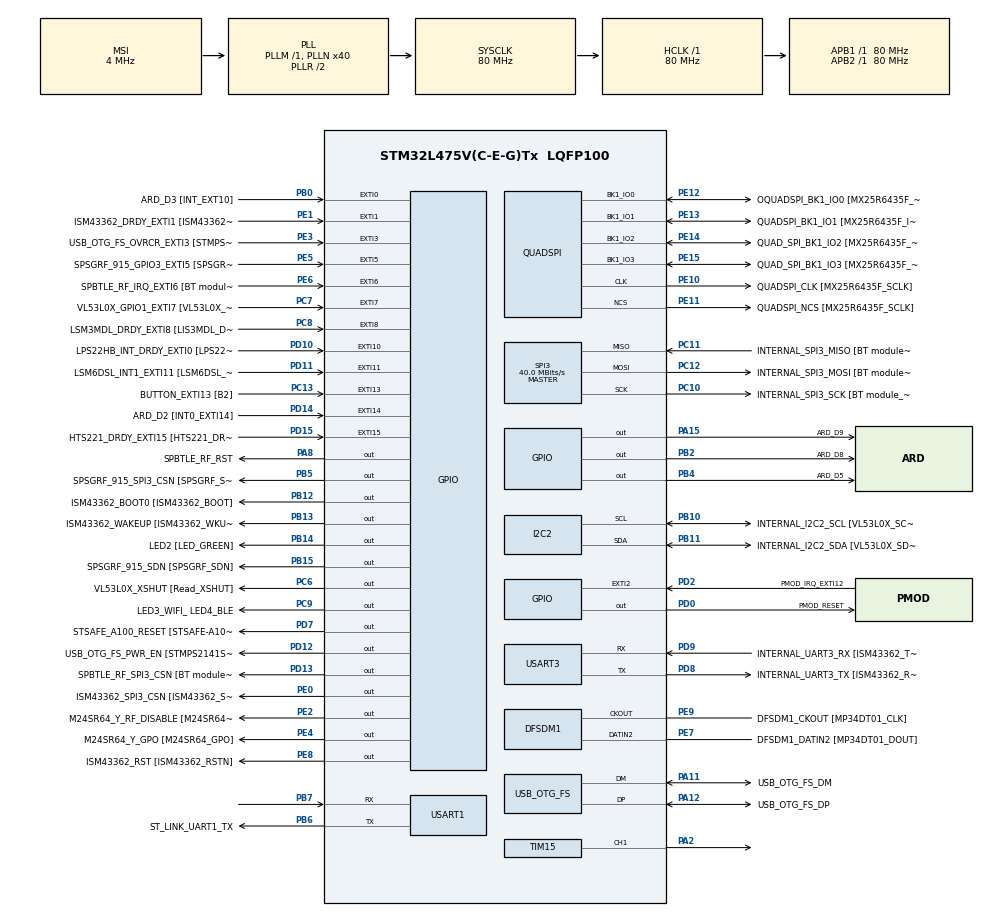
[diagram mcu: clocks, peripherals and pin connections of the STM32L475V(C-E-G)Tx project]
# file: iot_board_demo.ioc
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PD12.GPIO_Label=USB_OTG_FS_PWR_EN [STMPS2141STR_EN]
SPI3.Direction=SPI_DIRECTION_2LINES
SPI3.VirtualType=VM_MASTER
QUADSPI.ClockPrescaler=2
PB10.Mode=I2C
PC12.Signal=SPI3_MOSI
PB14.GPIO_Label=LED2 [LED_GREEN]
PC6.GPIO_Label=VL53L0X_XSHUT [Read_XSHUT]
PA6.GPIO_Label=ARD_D12 [SPI1_MISO]
PB6.GPIO_Label=ST_LINK_UART1_TX
PA15\ (JTDI).Signal=GPIO_Output
PC15-OSC32_OUT\ (PC15).Mode=LSE-External-Oscillator
PB13.Signal=GPIO_Output
STMicroelectronics.X-CUBE-BLE1.6.2.1.BlueNRGAaMSCcWirelessJjBlueNRGAaMSJjHCIIiTL=Template
PD6.GPIO_Label=PMOD_UART2_RX
PE6.GPIO_Label=SPBTLE_RF_IRQ_EXTI6 [BT module_SPI_IRQ]
RCC.SYSCLKSource=RCC_SYSCLKSOURCE_PLLCLK
PC14-OSC32_IN\ (PC14).Mode=LSE-External-Oscillator
SH.ADCx_IN16.0=ADC1_IN16
USART3.VirtualMode-Asynchronous=VM_ASYNC
PA14\ (JTCK-SWCLK).Signal=SYS_JTCK-SWCLK
PD4.Signal=USART2_RTS
RCC.APB2TimFreq_Value=80000000
PB6.Signal=USART1_TX
PC7.Signal=GPXTI7
PB6.Mode=Asynchronous
PC3.Signal=ADCx_IN4
PD0.Signal=GPIO_Output
PD8.Signal=USART3_TX
PE5.Signal=GPXTI5
PE1.Signal=GPXTI1
QUADSPI.FlashSize=23
STMicroelectronics.X-CUBE-BLE1.6.2.1.BlueNRGAaMSCcWirelessJjBlueNRGAaMSJjHCIIiTLIiINTERFACE=Template
NVIC.EXTI15_10_IRQn=true\:0\:0\:false\:false\:true\:true\:true
PB2.Signal=GPIO_Output
PD1.GPIO_Label=PMOD_SPI2_SCK
TIM15.Period=20000-1
PB12.GPIO_Label=ISM43362_BOOT0 [ISM43362_BOOT]
PC4.GPIO_Label=ARD_A1 [ADC]
PE9.Signal=S_CKOUTDFSDM1
PB1.GPIO_Label=ARD_D6 [ADC1_IN6]
PE4.GPIO_Label=M24SR64_Y_GPO [M24SR64_GPO]
PE2.Signal=GPIO_Output
PA8.Signal=GPIO_Output
STMicroelectronics.X-CUBE-BLE2.3.2.1.BlueNRGAa2CcWirelessJjBlueNRGAa2JjController=true
PE13.Mode=Single Bank
PE10.Signal=QUADSPI_CLK
PA0.Signal=UART4_TX
Mcu.Package=LQFP100
PB9.Signal=I2C1_SDA
PB1.Signal=ADCx_IN16
SPI3.Mode=SPI_MODE_MASTER
SH.ADCx_IN14.0=ADC1_IN14
PD12.Signal=GPIO_Output
PA10.Signal=USB_OTG_FS_ID
PE12.GPIO_Label=OQUADSPI_BK1_IO0 [MX25R6435F_IO0]
PC11.Mode=Full_Duplex_Master
SH.ADCx_IN9.0=ADC1_IN9
RCC.APB1TimFreq_Value=80000000
PA13\ (JTMS-SWDIO).Signal=SYS_JTMS-SWDIO
PE10.GPIO_Label=QUADSPI_CLK [MX25R6435F_SCLK]
PA4.GPIO_Label=ARD_D7
PD15.Signal=GPXTI15
TIM15.Channel-PWM\ Generation1\ CH1=TIM_CHANNEL_1
PE12.Mode=Single Bank
PD9.GPIO_Label=INTERNAL_UART3_RX [ISM43362_TX]
PC13.Signal=GPXTI13
PD3.Signal=USART2_CTS
PC6.Signal=GPIO_Output
PE10.Mode=Single Bank
PC2.Signal=ADCx_IN3
PB11.GPIO_Label=INTERNAL_I2C2_SDA [VL53L0X_SDA]
PD7.Signal=GPIO_Output
PD1.Signal=SPI2_SCK
PA11.GPIO_Label=USB_OTG_FS_DM
PC0.Signal=ADCx_IN1
PD10.Signal=GPXTI10
PB8.GPIO_Label=ARD_D15 [I2C1_SCL]
PA8.GPIO_Label=SPBTLE_RF_RST
PB11.Mode=I2C
PE8.GPIO_Label=ISM43362_RST [ISM43362_RSTN]
PE9.GPIO_Label=DFSDM1_CKOUT [MP34DT01_CLK]
PD8.Mode=Asynchronous
VP_STMicroelectronics.X-CUBE-BLE1_VS_WirelessJjBlueNRGAaMS_6.2.1.Mode=WirelessJjBlueNRGAaMS
PB10.Signal=I2C2_SCL
PB14.Signal=GPIO_Output
PA5.Signal=SPI1_SCK
PC12.Mode=Full_Duplex_Master
PE1.GPIO_Label=ISM43362_DRDY_EXTI1 [ISM43362_DATARDY]
SH.S_TIM15_CH1.0=TIM15_CH1,PWM Generation1 CH1
PE14.Signal=QUADSPI_BK1_IO2
PE15.Signal=QUADSPI_BK1_IO3
PB15.GPIO_Label=SPSGRF_915_SDN [SPSGRF_SDN]
PE8.Signal=GPIO_Output
PA1.GPIO_Label=ARD_D0 [UART4_RX]
SH.ADCx_IN4.0=ADC1_IN4
QUADSPI.FifoThreshold=4
PC7.GPIO_Label=VL53L0X_GPIO1_EXTI7 [VL53L0X_GPIO1]
PA13\ (JTMS-SWDIO).Mode=Serial_Wire
PA4.Signal=ADCx_IN9
PB5.Signal=GPIO_Output
PE13.GPIO_Label=QUADSPI_BK1_IO1 [MX25R6435F_IO1]
PA5.GPIO_Label=ARD_D13 [SPI1_SCK]
PD11.Signal=GPXTI11
PE5.GPIO_Label=SPSGRF_915_GPIO3_EXTI5 [SPSGRF_GPIO_3]
PC12.GPIO_Label=INTERNAL_SPI3_MOSI [BT module_SPI_MOSI] [ISM43362_MOSI]
PA11.Signal=USB_OTG_FS_DM
ProjectManager.HeapSize=0x200
NVIC.PriorityGroup=NVIC_PRIORITYGROUP_4
PE3.Signal=GPXTI3
PC3.GPIO_Label=ARD_A2 [ADC]
PB4\ (NJTRST).GPIO_Label=ARD_D5
PD2.Signal=GPXTI2
PB0.Signal=GPXTI0
PC1.Signal=ADCx_IN2
PD2.GPIO_Label=PMOD_IRQ_EXTI12
PE15.Mode=Single Bank
STMicroelectronics.X-CUBE-BLE2.3.2.1.BlueNRGAa2CcWirelessJjBlueNRGAa2JjHCIIiTLIiINTERFACE=Template
Mcu.Family=STM32L4
TIM15.AutoReloadPreload=TIM_AUTORELOAD_PRELOAD_ENABLE
RCC.CortexFreq_Value=80000000
PE11.GPIO_Label=QUADSPI_NCS [MX25R6435F_SCLK]
SH.ADCx_IN2.0=ADC1_IN2
STMicroelectronics.X-CUBE-BLE1.6.2.1.BlueNRGAaMSCcWirelessJjBlueNRGAaMSJjController=true
PC10.Signal=SPI3_SCK
I2C2.Timing=0x10909CEC
PA0.GPIO_Label=ARD_D1 [UART4_TX]
PC0.GPIO_Label=ARD_A5 [ADC]
PD0.GPIO_Label=PMOD_RESET
PA11.Mode=Device_Only
PB0.GPIO_Label=ARD_D3 [INT_EXT10]
PC13.GPIO_Label=BUTTON_EXTI13 [B2]
PB13.GPIO_Label=ISM43362_WAKEUP [ISM43362_WKUP]
PB11.Signal=I2C2_SDA
PB15.Signal=GPIO_Output
PD9.Mode=Asynchronous
STMicroelectronics.X-CUBE-BLE2.3.2.1.BlueNRGAa2CcWirelessJjBlueNRGAa2JjUtils=true
ProjectManager.StackSize=0x400
PB3\ (JTDO-TRACESWO).Signal=SYS_JTDO-SWO
PD13.Signal=GPIO_Output
PA12.Signal=USB_OTG_FS_DP
PE11.Mode=Single Bank
TIM15.Prescaler=84
PD11.GPIO_Label=LSM6DSL_INT1_EXTI11 [LSM6DSL_INT1]
RCC.HCLKFreq_Value=80000000
SH.ADCx_IN3.0=ADC1_IN3
PB5.PinState=GPIO_PIN_SET
STMicroelectronics.X-CUBE-BLE2.3.2.1.BlueNRGAa2CcWirelessJjBlueNRGAa2JjHCIIiTL=Template
RCC.AHBFreq_Value=80000000
RCC.HSE_VALUE=8000000
PE13.Signal=QUADSPI_BK1_IO1
PC11.GPIO_Label=INTERNAL_SPI3_MISO [BT module_SPI_MISO] [ISM43362_MISO]
PA10.GPIO_Label=USB_OTG_FS_ID
PB7.Signal=USART1_RX
PE4.Signal=GPIO_Output
QUADSPI.SampleShifting=QSPI_SAMPLE_SHIFTING_HALFCYCLE
PD7.GPIO_Label=STSAFE_A100_RESET [STSAFE-A100_RESET]
PD13.GPIO_Label=SPBTLE_RF_SPI3_CSN [BT module_SPI_CS]
PA6.Signal=SPI1_MISO
PD5.GPIO_Label=PMOD_UART2_TX
USB_OTG_FS.VirtualMode=Device_Only
PE0.GPIO_Label=ISM43362_SPI3_CSN [ISM43362_SSN]
SH.ADCx_IN1.0=ADC1_IN1
PB5.GPIO_Label=SPSGRF_915_SPI3_CSN [SPSGRF_SPI_CS]
PC5.Signal=ADCx_IN14
PD3.GPIO_Label=PMOD_UART2_CTS
PE7.Signal=S_DATAIN2DFSDM1
PD6.Signal=USART2_RX
PE2.GPIO_Label=M24SR64_Y_RF_DISABLE [M24SR64_RFDIS]
PC2.GPIO_Label=ARD_A3 [ADC]
RCC.PLLSAI1N=24
PA3.Signal=S_TIM2_CH4
RCC.MSI_VALUE=4000000
PA14\ (JTCK-SWCLK).Mode=Serial_Wire
SH.ADCx_IN13.0=ADC1_IN13
PD15.GPIO_Label=HTS221_DRDY_EXTI15 [HTS221_DRDY]
PB9.GPIO_Label=ARD_D14 [I2C1_SDA]
PC10.GPIO_Label=INTERNAL_SPI3_SCK [BT module_SPI_SCLK] [ISM43362_SCK]
PC9.GPIO_Label=LED3_WIFI_ LED4_BLE
PC11.Signal=SPI3_MISO
PC8.Signal=GPXTI8
PC4.Signal=ADCx_IN13
PC10.Mode=Full_Duplex_Master
SH.S_DATAIN2DFSDM1.0=DFSDM1_DATIN2,PDM_SPI_Input_from_ch12_and_Internal_Clock
PE14.GPIO_Label=QUAD_SPI_BK1_IO2 [MX25R6435F_IO2]
PC15-OSC32_OUT\ (PC15).Signal=RCC_OSC32_OUT
PD9.Signal=USART3_RX
PD5.Signal=USART2_TX
PA14\ (JTCK-SWCLK).GPIO_Label=SYS_JTCK_SWCLK
PB3\ (JTDO-TRACESWO).GPIO_Label=SYS_JTD0_SWO
STMicroelectronics.X-CUBE-BLE1.6.2.1.BlueNRGAaMSCcWirelessJjBlueNRGAaMSJjUtils=true
PA12.GPIO_Label=USB_OTG_FS_DP
PD8.GPIO_Label=INTERNAL_UART3_TX [ISM43362_RX]
PC8.GPIO_Label=LSM3MDL_DRDY_EXTI8 [LIS3MDL_DRDY]
USART1.VirtualMode-Asynchronous=VM_ASYNC
PE0.PinState=GPIO_PIN_SET
PE15.GPIO_Label=QUAD_SPI_BK1_IO3 [MX25R6435F_IO3]
ProjectManager.TargetToolchain=STM32CubeIDE
PB10.GPIO_Label=INTERNAL_I2C2_SCL [VL53L0X_SCL]
RCC.USBFreq_Value=48000000
PD10.GPIO_Label=LPS22HB_INT_DRDY_EXTI0 [LPS22HB_INT_DRDY] 
PE11.Signal=QUADSPI_NCS
PA1.Signal=UART4_RX
board=B-L475E-IOT01A1
RCC.VCOOutputFreq_Value=160000000
RCC.APB2Freq_Value=80000000
SPI3.CalculateBaudRate=40.0 MBits/s
PA13\ (JTMS-SWDIO).GPIO_Label=SYS_JTMS_SWDIO
PD4.GPIO_Label=PMOD_UART2_RTS
PE14.Mode=Single Bank
SH.S_CKOUTDFSDM1.0=DFSDM1_CKOUT,CKOUT
SH.S_CKOUTDFSDM1.1=DFSDM1_CKOUT,PDM_SPI_Input_from_ch12_and_Internal_Clock
RCC.ADCFreq_Value=48000000
PC1.GPIO_Label=ARD_A4 [ADC]
PD14.GPIO_Label=ARD_D2 [INT0_EXTI14]
PE6.Signal=GPXTI6
PA15\ (JTDI).GPIO_Label=ARD_D9
Mcu.Name=STM32L475V(C-E-G)Tx
PE0.Signal=GPIO_Output
PE7.GPIO_Label=DFSDM1_DATIN2 [MP34DT01_DOUT]
PE12.Signal=QUADSPI_BK1_IO0
PA2.Signal=S_TIM15_CH1
PD14.Signal=GPXTI14
RCC.SYSCLKFreq_VALUE=80000000
PA7.GPIO_Label=ARD_D11 [SPI1_MOSI]
PA12.Mode=Device_Only
PC13.GPIO_ModeDefaultEXTI=GPIO_MODE_IT_FALLING
PC5.GPIO_Label=ARD_A0 [ADC]
PC14-OSC32_IN\ (PC14).Signal=RCC_OSC32_IN
PB7.Mode=Asynchronous
VP_TIM15_VS_ClockSourceINT.Mode=Internal
NVIC.EXTI9_5_IRQn=true\:0\:0\:false\:false\:true\:true\:true
PB2.GPIO_Label=ARD_D8
SH.S_TIM2_CH4.0=TIM2_CH4
RCC.HSI_VALUE=16000000
RCC.PLLN=40
PB8.Signal=I2C1_SCL
PE3.GPIO_Label=USB_OTG_FS_OVRCR_EXTI3 [STMPS2141STR_FAULT]
PC9.Signal=GPIO_Output
PD13.PinState=GPIO_PIN_SET
RCC.APB1Freq_Value=80000000
PB12.Signal=GPIO_Output
PA3.GPIO_Label=ARD_D4
PA7.Signal=SPI1_MOSI
PB4\ (NJTRST).Signal=GPIO_Output

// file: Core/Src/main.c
/* USER CODE BEGIN Header */
/**
  ******************************************************************************
  * @file           : main.c
  * @brief          : Main program body
  ******************************************************************************
  * @attention
  *
  * <h2><center>&copy; Copyright (c) 2021 STMicroelectronics.
  * All rights reserved.</center></h2>
  *
  * This software component is licensed by ST under BSD 3-Clause license,
  * the "License"; You may not use this file except in compliance with the
  * License. You may obtain a copy of the License at:
  *                        opensource.org/licenses/BSD-3-Clause
  *
  ******************************************************************************
  */
/* USER CODE END Header */
#include "main.h"

DFSDM_Channel_HandleTypeDef hdfsdm1_channel1;

I2C_HandleTypeDef hi2c2;

QSPI_HandleTypeDef hqspi;

SPI_HandleTypeDef hspi3;

TIM_HandleTypeDef htim15;

UART_HandleTypeDef huart1;
UART_HandleTypeDef huart3;

PCD_HandleTypeDef hpcd_USB_OTG_FS;

void SystemClock_Config(void);
static void MX_GPIO_Init(void);
static void MX_DFSDM1_Init(void);
static void MX_I2C2_Init(void);
static void MX_QUADSPI_Init(void);
static void MX_SPI3_Init(void);
static void MX_USART3_UART_Init(void);
static void MX_USB_OTG_FS_PCD_Init(void);
static void MX_USART1_UART_Init(void);
static void MX_TIM15_Init(void);

int main(void)
{

  /* MCU Configuration--------------------------------------------------------*/

  /* Reset of all peripherals, Initializes the Flash interface and the Systick. */
  HAL_Init();

  /* Configure the system clock */
  SystemClock_Config();

  /* Initialize all configured peripherals */
  MX_GPIO_Init();
  MX_DFSDM1_Init();
  MX_I2C2_Init();
  MX_QUADSPI_Init();
  MX_SPI3_Init();
  MX_USART3_UART_Init();
  MX_USB_OTG_FS_PCD_Init();
  MX_USART1_UART_Init();
  MX_TIM15_Init();
  /* USER CODE BEGIN 2 */

  HAL_TIM_PWM_Start(&htim15, TIM_CHANNEL_1);

  /* USER CODE END 2 */

  /* Infinite loop */
  /* USER CODE BEGIN WHILE */

  // minimum of 575 microseconds - 2460 microseconds duty cycle

  htim15.Instance->CCR1 = 575; // set motor angle to lowest

  HAL_Delay(2000); // set up time

  int direction = 0;
  int stop = 0;
  uint32_t lastPressed = 0;

  while (1)
  {

    /* USER CODE END WHILE */

    /* USER CODE BEGIN 3 */

	// TODO: stop PWM if button is not pressed for a while

	if (HAL_GetTick() - lastPressed > 2000) {
		stop = 1;
		HAL_TIM_PWM_Stop(&htim15, TIM_CHANNEL_1);
	}

	if (!HAL_GPIO_ReadPin(BUTTON_EXTI13_GPIO_Port, BUTTON_EXTI13_Pin) && stop) {
		stop = 0;
		HAL_TIM_PWM_Start(&htim15, TIM_CHANNEL_1);
	}

	// check for button pressed and rotate if so
	if (htim15.Instance->CCR1 < 2460 && !HAL_GPIO_ReadPin(BUTTON_EXTI13_GPIO_Port, BUTTON_EXTI13_Pin) && !direction && !stop) {
		htim15.Instance->CCR1++;

		lastPressed = HAL_GetTick(); // store last press time stamp

		HAL_Delay(1);
	}

	// check for button pressed and rotate if so
	else if (htim15.Instance->CCR1 > 575 && !HAL_GPIO_ReadPin(BUTTON_EXTI13_GPIO_Port, BUTTON_EXTI13_Pin) && direction && !stop) { // && !HAL_GPIO_ReadPin(BUTTON_EXTI13_GPIO_Port, BUTTON_EXTI13_Pin)) {
		htim15.Instance->CCR1--;

		lastPressed = HAL_GetTick(); // store last press time stamp

		HAL_Delay(1);
	}

	// reverse direction on max angle
	if (htim15.Instance->CCR1 == 2460) {
			direction = 1;
		}

	// reverse direction in minimum angle
	if (htim15.Instance->CCR1 == 575) {
		direction = 0;
	}

  }
  /* USER CODE END 3 */
}

void SystemClock_Config(void)
{
  RCC_OscInitTypeDef RCC_OscInitStruct = {0};
  RCC_ClkInitTypeDef RCC_ClkInitStruct = {0};
  RCC_PeriphCLKInitTypeDef PeriphClkInit = {0};

  /** Configure LSE Drive Capability
  */
  HAL_PWR_EnableBkUpAccess();
  __HAL_RCC_LSEDRIVE_CONFIG(RCC_LSEDRIVE_LOW);
  /** Initializes the RCC Oscillators according to the specified parameters
  * in the RCC_OscInitTypeDef structure.
  */
  RCC_OscInitStruct.OscillatorType = RCC_OSCILLATORTYPE_LSE|RCC_OSCILLATORTYPE_MSI;
  RCC_OscInitStruct.LSEState = RCC_LSE_ON;
  RCC_OscInitStruct.MSIState = RCC_MSI_ON;
  RCC_OscInitStruct.MSICalibrationValue = 0;
  RCC_OscInitStruct.MSIClockRange = RCC_MSIRANGE_6;
  RCC_OscInitStruct.PLL.PLLState = RCC_PLL_ON;
  RCC_OscInitStruct.PLL.PLLSource = RCC_PLLSOURCE_MSI;
  RCC_OscInitStruct.PLL.PLLM = 1;
  RCC_OscInitStruct.PLL.PLLN = 40;
  RCC_OscInitStruct.PLL.PLLP = RCC_PLLP_DIV7;
  RCC_OscInitStruct.PLL.PLLQ = RCC_PLLQ_DIV2;
  RCC_OscInitStruct.PLL.PLLR = RCC_PLLR_DIV2;
  if (HAL_RCC_OscConfig(&RCC_OscInitStruct) != HAL_OK)
  {
    Error_Handler();
  }
  /** Initializes the CPU, AHB and APB buses clocks
  */
  RCC_ClkInitStruct.ClockType = RCC_CLOCKTYPE_HCLK|RCC_CLOCKTYPE_SYSCLK
                              |RCC_CLOCKTYPE_PCLK1|RCC_CLOCKTYPE_PCLK2;
  RCC_ClkInitStruct.SYSCLKSource = RCC_SYSCLKSOURCE_PLLCLK;
  RCC_ClkInitStruct.AHBCLKDivider = RCC_SYSCLK_DIV1;
  RCC_ClkInitStruct.APB1CLKDivider = RCC_HCLK_DIV1;
  RCC_ClkInitStruct.APB2CLKDivider = RCC_HCLK_DIV1;

  if (HAL_RCC_ClockConfig(&RCC_ClkInitStruct, FLASH_LATENCY_4) != HAL_OK)
  {
    Error_Handler();
  }
  PeriphClkInit.PeriphClockSelection = RCC_PERIPHCLK_USART1|RCC_PERIPHCLK_USART3
                              |RCC_PERIPHCLK_I2C2|RCC_PERIPHCLK_DFSDM1
                              |RCC_PERIPHCLK_USB;
  PeriphClkInit.Usart1ClockSelection = RCC_USART1CLKSOURCE_PCLK2;
  PeriphClkInit.Usart3ClockSelection = RCC_USART3CLKSOURCE_PCLK1;
  PeriphClkInit.I2c2ClockSelection = RCC_I2C2CLKSOURCE_PCLK1;
  PeriphClkInit.Dfsdm1ClockSelection = RCC_DFSDM1CLKSOURCE_PCLK;
  PeriphClkInit.UsbClockSelection = RCC_USBCLKSOURCE_PLLSAI1;
  PeriphClkInit.PLLSAI1.PLLSAI1Source = RCC_PLLSOURCE_MSI;
  PeriphClkInit.PLLSAI1.PLLSAI1M = 1;
  PeriphClkInit.PLLSAI1.PLLSAI1N = 24;
  PeriphClkInit.PLLSAI1.PLLSAI1P = RCC_PLLP_DIV7;
  PeriphClkInit.PLLSAI1.PLLSAI1Q = RCC_PLLQ_DIV2;
  PeriphClkInit.PLLSAI1.PLLSAI1R = RCC_PLLR_DIV2;
  PeriphClkInit.PLLSAI1.PLLSAI1ClockOut = RCC_PLLSAI1_48M2CLK;
  if (HAL_RCCEx_PeriphCLKConfig(&PeriphClkInit) != HAL_OK)
  {
    Error_Handler();
  }
  /** Configure the main internal regulator output voltage
  */
  if (HAL_PWREx_ControlVoltageScaling(PWR_REGULATOR_VOLTAGE_SCALE1) != HAL_OK)
  {
    Error_Handler();
  }
  /** Enable MSI Auto calibration
  */
  HAL_RCCEx_EnableMSIPLLMode();
}

static void MX_DFSDM1_Init(void)
{

  hdfsdm1_channel1.Instance = DFSDM1_Channel1;
  hdfsdm1_channel1.Init.OutputClock.Activation = ENABLE;
  hdfsdm1_channel1.Init.OutputClock.Selection = DFSDM_CHANNEL_OUTPUT_CLOCK_SYSTEM;
  hdfsdm1_channel1.Init.OutputClock.Divider = 2;
  hdfsdm1_channel1.Init.Input.Multiplexer = DFSDM_CHANNEL_EXTERNAL_INPUTS;
  hdfsdm1_channel1.Init.Input.DataPacking = DFSDM_CHANNEL_STANDARD_MODE;
  hdfsdm1_channel1.Init.Input.Pins = DFSDM_CHANNEL_FOLLOWING_CHANNEL_PINS;
  hdfsdm1_channel1.Init.SerialInterface.Type = DFSDM_CHANNEL_SPI_RISING;
  hdfsdm1_channel1.Init.SerialInterface.SpiClock = DFSDM_CHANNEL_SPI_CLOCK_INTERNAL;
  hdfsdm1_channel1.Init.Awd.FilterOrder = DFSDM_CHANNEL_FASTSINC_ORDER;
  hdfsdm1_channel1.Init.Awd.Oversampling = 1;
  hdfsdm1_channel1.Init.Offset = 0;
  hdfsdm1_channel1.Init.RightBitShift = 0x00;
  if (HAL_DFSDM_ChannelInit(&hdfsdm1_channel1) != HAL_OK)
  {
    Error_Handler();
  }

}

static void MX_I2C2_Init(void)
{

  hi2c2.Instance = I2C2;
  hi2c2.Init.Timing = 0x10909CEC;
  hi2c2.Init.OwnAddress1 = 0;
  hi2c2.Init.AddressingMode = I2C_ADDRESSINGMODE_7BIT;
  hi2c2.Init.DualAddressMode = I2C_DUALADDRESS_DISABLE;
  hi2c2.Init.OwnAddress2 = 0;
  hi2c2.Init.OwnAddress2Masks = I2C_OA2_NOMASK;
  hi2c2.Init.GeneralCallMode = I2C_GENERALCALL_DISABLE;
  hi2c2.Init.NoStretchMode = I2C_NOSTRETCH_DISABLE;
  if (HAL_I2C_Init(&hi2c2) != HAL_OK)
  {
    Error_Handler();
  }
  /** Configure Analogue filter
  */
  if (HAL_I2CEx_ConfigAnalogFilter(&hi2c2, I2C_ANALOGFILTER_ENABLE) != HAL_OK)
  {
    Error_Handler();
  }
  /** Configure Digital filter
  */
  if (HAL_I2CEx_ConfigDigitalFilter(&hi2c2, 0) != HAL_OK)
  {
    Error_Handler();
  }

}

static void MX_QUADSPI_Init(void)
{

  /* QUADSPI parameter configuration*/
  hqspi.Instance = QUADSPI;
  hqspi.Init.ClockPrescaler = 2;
  hqspi.Init.FifoThreshold = 4;
  hqspi.Init.SampleShifting = QSPI_SAMPLE_SHIFTING_HALFCYCLE;
  hqspi.Init.FlashSize = 23;
  hqspi.Init.ChipSelectHighTime = QSPI_CS_HIGH_TIME_1_CYCLE;
  hqspi.Init.ClockMode = QSPI_CLOCK_MODE_0;
  if (HAL_QSPI_Init(&hqspi) != HAL_OK)
  {
    Error_Handler();
  }

}

static void MX_SPI3_Init(void)
{

  /* SPI3 parameter configuration*/
  hspi3.Instance = SPI3;
  hspi3.Init.Mode = SPI_MODE_MASTER;
  hspi3.Init.Direction = SPI_DIRECTION_2LINES;
  hspi3.Init.DataSize = SPI_DATASIZE_4BIT;
  hspi3.Init.CLKPolarity = SPI_POLARITY_LOW;
  hspi3.Init.CLKPhase = SPI_PHASE_1EDGE;
  hspi3.Init.NSS = SPI_NSS_SOFT;
  hspi3.Init.BaudRatePrescaler = SPI_BAUDRATEPRESCALER_2;
  hspi3.Init.FirstBit = SPI_FIRSTBIT_MSB;
  hspi3.Init.TIMode = SPI_TIMODE_DISABLE;
  hspi3.Init.CRCCalculation = SPI_CRCCALCULATION_DISABLE;
  hspi3.Init.CRCPolynomial = 7;
  hspi3.Init.CRCLength = SPI_CRC_LENGTH_DATASIZE;
  hspi3.Init.NSSPMode = SPI_NSS_PULSE_ENABLE;
  if (HAL_SPI_Init(&hspi3) != HAL_OK)
  {
    Error_Handler();
  }

}

static void MX_TIM15_Init(void)
{

  TIM_ClockConfigTypeDef sClockSourceConfig = {0};
  TIM_MasterConfigTypeDef sMasterConfig = {0};
  TIM_OC_InitTypeDef sConfigOC = {0};
  TIM_BreakDeadTimeConfigTypeDef sBreakDeadTimeConfig = {0};

  htim15.Instance = TIM15;
  htim15.Init.Prescaler = 84;
  htim15.Init.CounterMode = TIM_COUNTERMODE_UP;
  htim15.Init.Period = 20000-1;
  htim15.Init.ClockDivision = TIM_CLOCKDIVISION_DIV1;
  htim15.Init.RepetitionCounter = 0;
  htim15.Init.AutoReloadPreload = TIM_AUTORELOAD_PRELOAD_ENABLE;
  if (HAL_TIM_Base_Init(&htim15) != HAL_OK)
  {
    Error_Handler();
  }
  sClockSourceConfig.ClockSource = TIM_CLOCKSOURCE_INTERNAL;
  if (HAL_TIM_ConfigClockSource(&htim15, &sClockSourceConfig) != HAL_OK)
  {
    Error_Handler();
  }
  if (HAL_TIM_PWM_Init(&htim15) != HAL_OK)
  {
    Error_Handler();
  }
  sMasterConfig.MasterOutputTrigger = TIM_TRGO_RESET;
  sMasterConfig.MasterSlaveMode = TIM_MASTERSLAVEMODE_DISABLE;
  if (HAL_TIMEx_MasterConfigSynchronization(&htim15, &sMasterConfig) != HAL_OK)
  {
    Error_Handler();
  }
  sConfigOC.OCMode = TIM_OCMODE_PWM1;
  sConfigOC.Pulse = 0;
  sConfigOC.OCPolarity = TIM_OCPOLARITY_HIGH;
  sConfigOC.OCNPolarity = TIM_OCNPOLARITY_HIGH;
  sConfigOC.OCFastMode = TIM_OCFAST_DISABLE;
  sConfigOC.OCIdleState = TIM_OCIDLESTATE_RESET;
  sConfigOC.OCNIdleState = TIM_OCNIDLESTATE_RESET;
  if (HAL_TIM_PWM_ConfigChannel(&htim15, &sConfigOC, TIM_CHANNEL_1) != HAL_OK)
  {
    Error_Handler();
  }
  sBreakDeadTimeConfig.OffStateRunMode = TIM_OSSR_DISABLE;
  sBreakDeadTimeConfig.OffStateIDLEMode = TIM_OSSI_DISABLE;
  sBreakDeadTimeConfig.LockLevel = TIM_LOCKLEVEL_OFF;
  sBreakDeadTimeConfig.DeadTime = 0;
  sBreakDeadTimeConfig.BreakState = TIM_BREAK_DISABLE;
  sBreakDeadTimeConfig.BreakPolarity = TIM_BREAKPOLARITY_HIGH;
  sBreakDeadTimeConfig.AutomaticOutput = TIM_AUTOMATICOUTPUT_DISABLE;
  if (HAL_TIMEx_ConfigBreakDeadTime(&htim15, &sBreakDeadTimeConfig) != HAL_OK)
  {
    Error_Handler();
  }
  HAL_TIM_MspPostInit(&htim15);

}

static void MX_USART1_UART_Init(void)
{

  huart1.Instance = USART1;
  huart1.Init.BaudRate = 115200;
  huart1.Init.WordLength = UART_WORDLENGTH_8B;
  huart1.Init.StopBits = UART_STOPBITS_1;
  huart1.Init.Parity = UART_PARITY_NONE;
  huart1.Init.Mode = UART_MODE_TX_RX;
  huart1.Init.HwFlowCtl = UART_HWCONTROL_NONE;
  huart1.Init.OverSampling = UART_OVERSAMPLING_16;
  huart1.Init.OneBitSampling = UART_ONE_BIT_SAMPLE_DISABLE;
  huart1.AdvancedInit.AdvFeatureInit = UART_ADVFEATURE_NO_INIT;
  if (HAL_UART_Init(&huart1) != HAL_OK)
  {
    Error_Handler();
  }

}

static void MX_USART3_UART_Init(void)
{

  huart3.Instance = USART3;
  huart3.Init.BaudRate = 115200;
  huart3.Init.WordLength = UART_WORDLENGTH_8B;
  huart3.Init.StopBits = UART_STOPBITS_1;
  huart3.Init.Parity = UART_PARITY_NONE;
  huart3.Init.Mode = UART_MODE_TX_RX;
  huart3.Init.HwFlowCtl = UART_HWCONTROL_NONE;
  huart3.Init.OverSampling = UART_OVERSAMPLING_16;
  huart3.Init.OneBitSampling = UART_ONE_BIT_SAMPLE_DISABLE;
  huart3.AdvancedInit.AdvFeatureInit = UART_ADVFEATURE_NO_INIT;
  if (HAL_UART_Init(&huart3) != HAL_OK)
  {
    Error_Handler();
  }

}

static void MX_USB_OTG_FS_PCD_Init(void)
{

  hpcd_USB_OTG_FS.Instance = USB_OTG_FS;
  hpcd_USB_OTG_FS.Init.dev_endpoints = 6;
  hpcd_USB_OTG_FS.Init.speed = PCD_SPEED_FULL;
  hpcd_USB_OTG_FS.Init.phy_itface = PCD_PHY_EMBEDDED;
  hpcd_USB_OTG_FS.Init.Sof_enable = DISABLE;
  hpcd_USB_OTG_FS.Init.low_power_enable = DISABLE;
  hpcd_USB_OTG_FS.Init.lpm_enable = DISABLE;
  hpcd_USB_OTG_FS.Init.battery_charging_enable = DISABLE;
  hpcd_USB_OTG_FS.Init.use_dedicated_ep1 = DISABLE;
  hpcd_USB_OTG_FS.Init.vbus_sensing_enable = DISABLE;
  if (HAL_PCD_Init(&hpcd_USB_OTG_FS) != HAL_OK)
  {
    Error_Handler();
  }

}

static void MX_GPIO_Init(void)
{
  GPIO_InitTypeDef GPIO_InitStruct = {0};

  /* GPIO Ports Clock Enable */
  __HAL_RCC_GPIOE_CLK_ENABLE();
  __HAL_RCC_GPIOC_CLK_ENABLE();
  __HAL_RCC_GPIOA_CLK_ENABLE();
  __HAL_RCC_GPIOB_CLK_ENABLE();
  __HAL_RCC_GPIOD_CLK_ENABLE();

  /*Configure GPIO pin Output Level */
  HAL_GPIO_WritePin(GPIOE, M24SR64_Y_RF_DISABLE_Pin|M24SR64_Y_GPO_Pin|ISM43362_RST_Pin, GPIO_PIN_RESET);

  /*Configure GPIO pin Output Level */
  HAL_GPIO_WritePin(GPIOB, ARD_D8_Pin|ISM43362_BOOT0_Pin|ISM43362_WAKEUP_Pin|LED2_Pin
                          |SPSGRF_915_SDN_Pin|ARD_D5_Pin, GPIO_PIN_RESET);

  /*Configure GPIO pin Output Level */
  HAL_GPIO_WritePin(GPIOD, USB_OTG_FS_PWR_EN_Pin|PMOD_RESET_Pin|STSAFE_A100_RESET_Pin, GPIO_PIN_RESET);

  /*Configure GPIO pin Output Level */
  HAL_GPIO_WritePin(SPBTLE_RF_SPI3_CSN_GPIO_Port, SPBTLE_RF_SPI3_CSN_Pin, GPIO_PIN_SET);

  /*Configure GPIO pin Output Level */
  HAL_GPIO_WritePin(GPIOC, VL53L0X_XSHUT_Pin|LED3_WIFI__LED4_BLE_Pin, GPIO_PIN_RESET);

  /*Configure GPIO pin Output Level */
  HAL_GPIO_WritePin(GPIOA, SPBTLE_RF_RST_Pin|ARD_D9_Pin, GPIO_PIN_RESET);

  /*Configure GPIO pin Output Level */
  HAL_GPIO_WritePin(SPSGRF_915_SPI3_CSN_GPIO_Port, SPSGRF_915_SPI3_CSN_Pin, GPIO_PIN_SET);

  /*Configure GPIO pin Output Level */
  HAL_GPIO_WritePin(ISM43362_SPI3_CSN_GPIO_Port, ISM43362_SPI3_CSN_Pin, GPIO_PIN_SET);

  /*Configure GPIO pins : M24SR64_Y_RF_DISABLE_Pin M24SR64_Y_GPO_Pin ISM43362_RST_Pin ISM43362_SPI3_CSN_Pin */
  GPIO_InitStruct.Pin = M24SR64_Y_RF_DISABLE_Pin|M24SR64_Y_GPO_Pin|ISM43362_RST_Pin|ISM43362_SPI3_CSN_Pin;
  GPIO_InitStruct.Mode = GPIO_MODE_OUTPUT_PP;
  GPIO_InitStruct.Pull = GPIO_NOPULL;
  GPIO_InitStruct.Speed = GPIO_SPEED_FREQ_LOW;
  HAL_GPIO_Init(GPIOE, &GPIO_InitStruct);

  /*Configure GPIO pins : USB_OTG_FS_OVRCR_EXTI3_Pin SPSGRF_915_GPIO3_EXTI5_Pin SPBTLE_RF_IRQ_EXTI6_Pin ISM43362_DRDY_EXTI1_Pin */
  GPIO_InitStruct.Pin = USB_OTG_FS_OVRCR_EXTI3_Pin|SPSGRF_915_GPIO3_EXTI5_Pin|SPBTLE_RF_IRQ_EXTI6_Pin|ISM43362_DRDY_EXTI1_Pin;
  GPIO_InitStruct.Mode = GPIO_MODE_IT_RISING;
  GPIO_InitStruct.Pull = GPIO_NOPULL;
  HAL_GPIO_Init(GPIOE, &GPIO_InitStruct);

  /*Configure GPIO pin : BUTTON_EXTI13_Pin */
  GPIO_InitStruct.Pin = BUTTON_EXTI13_Pin;
  GPIO_InitStruct.Mode = GPIO_MODE_IT_FALLING;
  GPIO_InitStruct.Pull = GPIO_NOPULL;
  HAL_GPIO_Init(BUTTON_EXTI13_GPIO_Port, &GPIO_InitStruct);

  /*Configure GPIO pins : ARD_A5_Pin ARD_A4_Pin ARD_A3_Pin ARD_A2_Pin
                           ARD_A1_Pin ARD_A0_Pin */
  GPIO_InitStruct.Pin = ARD_A5_Pin|ARD_A4_Pin|ARD_A3_Pin|ARD_A2_Pin
                          |ARD_A1_Pin|ARD_A0_Pin;
  GPIO_InitStruct.Mode = GPIO_MODE_ANALOG_ADC_CONTROL;
  GPIO_InitStruct.Pull = GPIO_NOPULL;
  HAL_GPIO_Init(GPIOC, &GPIO_InitStruct);

  /*Configure GPIO pins : ARD_D1_Pin ARD_D0_Pin */
  GPIO_InitStruct.Pin = ARD_D1_Pin|ARD_D0_Pin;
  GPIO_InitStruct.Mode = GPIO_MODE_AF_PP;
  GPIO_InitStruct.Pull = GPIO_NOPULL;
  GPIO_InitStruct.Speed = GPIO_SPEED_FREQ_VERY_HIGH;
  GPIO_InitStruct.Alternate = GPIO_AF8_UART4;
  HAL_GPIO_Init(GPIOA, &GPIO_InitStruct);

  /*Configure GPIO pin : ARD_D4_Pin */
  GPIO_InitStruct.Pin = ARD_D4_Pin;
  GPIO_InitStruct.Mode = GPIO_MODE_AF_PP;
  GPIO_InitStruct.Pull = GPIO_NOPULL;
  GPIO_InitStruct.Speed = GPIO_SPEED_FREQ_LOW;
  GPIO_InitStruct.Alternate = GPIO_AF1_TIM2;
  HAL_GPIO_Init(ARD_D4_GPIO_Port, &GPIO_InitStruct);

  /*Configure GPIO pin : ARD_D7_Pin */
  GPIO_InitStruct.Pin = ARD_D7_Pin;
  GPIO_InitStruct.Mode = GPIO_MODE_ANALOG_ADC_CONTROL;
  GPIO_InitStruct.Pull = GPIO_NOPULL;
  HAL_GPIO_Init(ARD_D7_GPIO_Port, &GPIO_InitStruct);

  /*Configure GPIO pins : ARD_D13_Pin ARD_D12_Pin ARD_D11_Pin */
  GPIO_InitStruct.Pin = ARD_D13_Pin|ARD_D12_Pin|ARD_D11_Pin;
  GPIO_InitStruct.Mode = GPIO_MODE_AF_PP;
  GPIO_InitStruct.Pull = GPIO_NOPULL;
  GPIO_InitStruct.Speed = GPIO_SPEED_FREQ_VERY_HIGH;
  GPIO_InitStruct.Alternate = GPIO_AF5_SPI1;
  HAL_GPIO_Init(GPIOA, &GPIO_InitStruct);

  /*Configure GPIO pin : ARD_D3_Pin */
  GPIO_InitStruct.Pin = ARD_D3_Pin;
  GPIO_InitStruct.Mode = GPIO_MODE_IT_RISING;
  GPIO_InitStruct.Pull = GPIO_NOPULL;
  HAL_GPIO_Init(ARD_D3_GPIO_Port, &GPIO_InitStruct);

  /*Configure GPIO pin : ARD_D6_Pin */
  GPIO_InitStruct.Pin = ARD_D6_Pin;
  GPIO_InitStruct.Mode = GPIO_MODE_ANALOG_ADC_CONTROL;
  GPIO_InitStruct.Pull = GPIO_NOPULL;
  HAL_GPIO_Init(ARD_D6_GPIO_Port, &GPIO_InitStruct);

  /*Configure GPIO pins : ARD_D8_Pin ISM43362_BOOT0_Pin ISM43362_WAKEUP_Pin LED2_Pin
                           SPSGRF_915_SDN_Pin ARD_D5_Pin SPSGRF_915_SPI3_CSN_Pin */
  GPIO_InitStruct.Pin = ARD_D8_Pin|ISM43362_BOOT0_Pin|ISM43362_WAKEUP_Pin|LED2_Pin
                          |SPSGRF_915_SDN_Pin|ARD_D5_Pin|SPSGRF_915_SPI3_CSN_Pin;
  GPIO_InitStruct.Mode = GPIO_MODE_OUTPUT_PP;
  GPIO_InitStruct.Pull = GPIO_NOPULL;
  GPIO_InitStruct.Speed = GPIO_SPEED_FREQ_LOW;
  HAL_GPIO_Init(GPIOB, &GPIO_InitStruct);

  /*Configure GPIO pins : LPS22HB_INT_DRDY_EXTI0_Pin LSM6DSL_INT1_EXTI11_Pin ARD_D2_Pin HTS221_DRDY_EXTI15_Pin
                           PMOD_IRQ_EXTI12_Pin */
  GPIO_InitStruct.Pin = LPS22HB_INT_DRDY_EXTI0_Pin|LSM6DSL_INT1_EXTI11_Pin|ARD_D2_Pin|HTS221_DRDY_EXTI15_Pin
                          |PMOD_IRQ_EXTI12_Pin;
  GPIO_InitStruct.Mode = GPIO_MODE_IT_RISING;
  GPIO_InitStruct.Pull = GPIO_NOPULL;
  HAL_GPIO_Init(GPIOD, &GPIO_InitStruct);

  /*Configure GPIO pins : USB_OTG_FS_PWR_EN_Pin SPBTLE_RF_SPI3_CSN_Pin PMOD_RESET_Pin STSAFE_A100_RESET_Pin */
  GPIO_InitStruct.Pin = USB_OTG_FS_PWR_EN_Pin|SPBTLE_RF_SPI3_CSN_Pin|PMOD_RESET_Pin|STSAFE_A100_RESET_Pin;
  GPIO_InitStruct.Mode = GPIO_MODE_OUTPUT_PP;
  GPIO_InitStruct.Pull = GPIO_NOPULL;
  GPIO_InitStruct.Speed = GPIO_SPEED_FREQ_LOW;
  HAL_GPIO_Init(GPIOD, &GPIO_InitStruct);

  /*Configure GPIO pins : VL53L0X_XSHUT_Pin LED3_WIFI__LED4_BLE_Pin */
  GPIO_InitStruct.Pin = VL53L0X_XSHUT_Pin|LED3_WIFI__LED4_BLE_Pin;
  GPIO_InitStruct.Mode = GPIO_MODE_OUTPUT_PP;
  GPIO_InitStruct.Pull = GPIO_NOPULL;
  GPIO_InitStruct.Speed = GPIO_SPEED_FREQ_LOW;
  HAL_GPIO_Init(GPIOC, &GPIO_InitStruct);

  /*Configure GPIO pins : VL53L0X_GPIO1_EXTI7_Pin LSM3MDL_DRDY_EXTI8_Pin */
  GPIO_InitStruct.Pin = VL53L0X_GPIO1_EXTI7_Pin|LSM3MDL_DRDY_EXTI8_Pin;
  GPIO_InitStruct.Mode = GPIO_MODE_IT_RISING;
  GPIO_InitStruct.Pull = GPIO_NOPULL;
  HAL_GPIO_Init(GPIOC, &GPIO_InitStruct);

  /*Configure GPIO pins : SPBTLE_RF_RST_Pin ARD_D9_Pin */
  GPIO_InitStruct.Pin = SPBTLE_RF_RST_Pin|ARD_D9_Pin;
  GPIO_InitStruct.Mode = GPIO_MODE_OUTPUT_PP;
  GPIO_InitStruct.Pull = GPIO_NOPULL;
  GPIO_InitStruct.Speed = GPIO_SPEED_FREQ_LOW;
  HAL_GPIO_Init(GPIOA, &GPIO_InitStruct);

  /*Configure GPIO pin : PMOD_SPI2_SCK_Pin */
  GPIO_InitStruct.Pin = PMOD_SPI2_SCK_Pin;
  GPIO_InitStruct.Mode = GPIO_MODE_AF_PP;
  GPIO_InitStruct.Pull = GPIO_NOPULL;
  GPIO_InitStruct.Speed = GPIO_SPEED_FREQ_VERY_HIGH;
  GPIO_InitStruct.Alternate = GPIO_AF5_SPI2;
  HAL_GPIO_Init(PMOD_SPI2_SCK_GPIO_Port, &GPIO_InitStruct);

  /*Configure GPIO pins : PMOD_UART2_CTS_Pin PMOD_UART2_RTS_Pin PMOD_UART2_TX_Pin PMOD_UART2_RX_Pin */
  GPIO_InitStruct.Pin = PMOD_UART2_CTS_Pin|PMOD_UART2_RTS_Pin|PMOD_UART2_TX_Pin|PMOD_UART2_RX_Pin;
  GPIO_InitStruct.Mode = GPIO_MODE_AF_PP;
  GPIO_InitStruct.Pull = GPIO_NOPULL;
  GPIO_InitStruct.Speed = GPIO_SPEED_FREQ_VERY_HIGH;
  GPIO_InitStruct.Alternate = GPIO_AF7_USART2;
  HAL_GPIO_Init(GPIOD, &GPIO_InitStruct);

  /*Configure GPIO pins : ARD_D15_Pin ARD_D14_Pin */
  GPIO_InitStruct.Pin = ARD_D15_Pin|ARD_D14_Pin;
  GPIO_InitStruct.Mode = GPIO_MODE_AF_OD;
  GPIO_InitStruct.Pull = GPIO_PULLUP;
  GPIO_InitStruct.Speed = GPIO_SPEED_FREQ_VERY_HIGH;
  GPIO_InitStruct.Alternate = GPIO_AF4_I2C1;
  HAL_GPIO_Init(GPIOB, &GPIO_InitStruct);

  /* EXTI interrupt init*/
  HAL_NVIC_SetPriority(EXTI9_5_IRQn, 0, 0);
  HAL_NVIC_EnableIRQ(EXTI9_5_IRQn);

  HAL_NVIC_SetPriority(EXTI15_10_IRQn, 0, 0);
  HAL_NVIC_EnableIRQ(EXTI15_10_IRQn);

}

void Error_Handler(void)
{
  __disable_irq();
  while (1)
  {
  }
}

/************************ (C) COPYRIGHT STMicroelectronics *****END OF FILE****/
